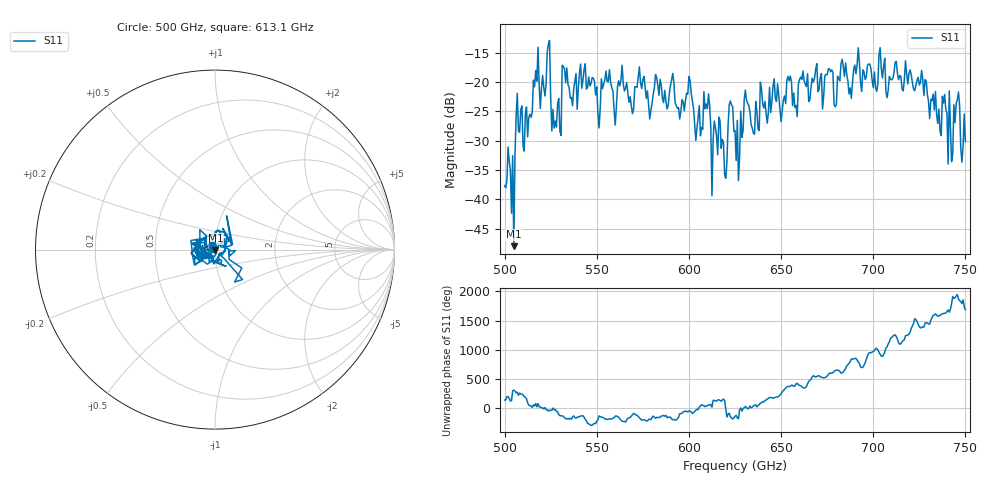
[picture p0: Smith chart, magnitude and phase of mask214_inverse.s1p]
!Created with skrf (http://scikit-rf.org).
# GHz S MA R 50.0
!freq magS11 angS11
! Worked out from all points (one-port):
!   401 points, 500 GHz to 750 GHz, reference 50 ohm
!   lowest |S11| = -48.0 dB at 505 GHz (marker M1), VSWR 1.01, Z = 50.2 - j0.341 ohm
!   |S11| at or under -10 dB: start of sweep to end of sweep
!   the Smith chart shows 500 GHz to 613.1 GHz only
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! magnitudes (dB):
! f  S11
! 500 GHz  -37.7
! 505 GHz  -48.0
! 507.5 GHz  -28.4
! 513.8 GHz  -25.5
! 516.9 GHz  -18.0
! 523.8 GHz  -13.5
! 526.9 GHz  -27.8
! 531.2 GHz  -17.1
! 555.6 GHz  -19.9
! 560 GHz  -27.3
! 562.5 GHz  -20.6
! 593.8 GHz  -24.5
! 609.4 GHz  -23.7
! 619.4 GHz  -35.9
! 622.5 GHz  -23.2
! 625 GHz  -28.3
! 656.2 GHz  -24.0
! 676.9 GHz  -18.2
! 680 GHz  -23.8
! 683.8 GHz  -17.4
! 687.5 GHz  -21.0
! 691.2 GHz  -17.0
! 718.8 GHz  -20.3
! 735.6 GHz  -24.6
! 738.8 GHz  -22.1
! 741.9 GHz  -27.5
! 745.6 GHz  -23.0
! 750 GHz  -30.1
